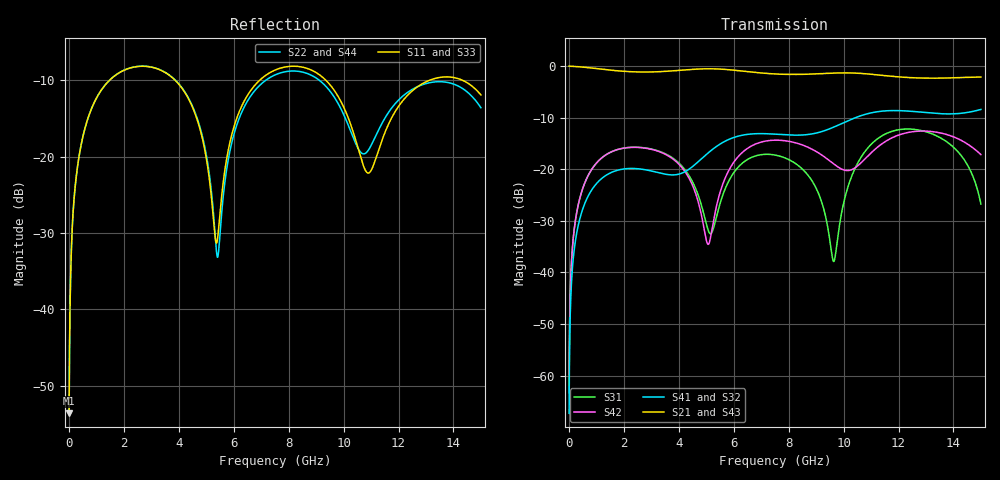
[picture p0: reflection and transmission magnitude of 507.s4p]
! Created with skrf 1.8.0 (http://scikit-rf.org).
# GHz S RI R 50.0
!freq ReS11 ImS11 ReS12 ImS12 ReS13 ImS13
! ReS14 ImS14
! ReS21 ImS21 ReS22 ImS22 ReS23 ImS23
! ReS24 ImS24
! ReS31 ImS31 ReS32 ImS32 ReS33 ImS33
! ReS34 ImS34
! ReS41 ImS41 ReS42 ImS42 ReS43 ImS43
! ReS44 ImS44
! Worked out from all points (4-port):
!   2499 points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, 5 MHz to 15 GHz, reference 50 ohm
!   strongest paths, dB at 5 MHz, 3.476 GHz, 7.19 GHz, 11.1 GHz, 15 GHz:
!     S21: 0.0, -1.0, -1.4, -1.6, -2.1
!     S43: 0.0, -1.0, -1.4, -1.6, -2.1
!     S41: -67.3, -20.9, -13.1, -9.0, -8.4
!     S32: -67.3, -20.9, -13.1, -8.9, -8.4
!     S42: -63.3, -17.0, -14.5, -16.3, -17.1
!     S31: -63.3, -16.9, -17.1, -14.7, -26.7
!   lowest |S11| = -53.6 dB at 5 MHz (marker M1), VSWR 1.00, Z = 50.2 + j0.126 ohm
!   |S11| at or under -10 dB: start of sweep to 1.479 GHz; 3.864 GHz to 6.947 GHz (3.083 GHz wide, 57 % of centre); 9.353 GHz to 13.14 GHz (3.783 GHz wide, 33.6 % of centre)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
0.005  0.00166 0.00126  0.9983 -0.00324  8.44e-05 0.000682  -8.18e-05 -0.000424
       0.9983 -0.00324  0.00166 0.00126  -8.18e-05 -0.000424  8.44e-05 0.000682
       8.44e-05 0.000682  -8.18e-05 -0.000424  0.00166 0.00126  0.9983 -0.00324
       -8.18e-05 -0.000424  8.44e-05 0.000682  0.9983 -0.00324  0.00166 0.00126
0.3626511  0.031 0.0943  0.9572 -0.2315  0.0152 0.046  -0.0125 -0.028
           0.9572 -0.2315  0.031 0.0943  -0.0125 -0.028  0.0152 0.046
           0.0152 0.046  -0.0125 -0.028  0.031 0.0943  0.9572 -0.2315
           -0.0125 -0.028  0.0152 0.046  0.9572 -0.2315  0.031 0.0943
1.67  0.2958 0.1645  0.4882 -0.7621  0.1423 0.0547  -0.096 0.00457
      0.4882 -0.7621  0.2959 0.1645  -0.096 0.0046  0.1418 0.0556
      0.1423 0.0547  -0.096 0.0046  0.2957 0.1645  0.4883 -0.7621
      -0.096 0.00457  0.1418 0.0556  0.4883 -0.7621  0.2958 0.1644
5.402251  0.0274 0.00697  -0.9364 -0.0603  -0.0187 0.0324  -0.00622 0.1686
          -0.9364 -0.0603  0.0219 -0.00239  -0.0057 0.1686  0.0321 0.0351
          -0.0187 0.0324  -0.0057 0.1686  0.0277 0.00888  -0.9365 -0.06
          -0.00622 0.1686  0.0321 0.0351  -0.9365 -0.06  0.0214 -0.000464
8.347228  0.3868 -0.0406  -0.00177 0.8305  0.1028 -0.0359  0.2086 -0.0487
          -0.00177 0.8305  0.3614 -0.0108  0.2082 -0.0493  0.1095 -0.1397
          0.1028 -0.0359  0.2082 -0.0493  0.3882 -0.0419  -0.00311 0.8298
          0.2086 -0.0487  0.1095 -0.1397  -0.00311 0.8298  0.3631 -0.00839
11.11713  0.0876 0.0238  0.8276 -0.0232  0.0621 0.1757  -0.0262 -0.3562
          0.8276 -0.0232  0.1217 0.0465  -0.0269 -0.3571  0.00751 0.1538
          0.0621 0.1757  -0.0269 -0.3571  0.0815 0.0212  0.8278 -0.0191
          -0.0262 -0.3562  0.00751 0.1538  0.8278 -0.0191  0.1271 0.0438
15  0.2107 -0.1407  -0.43 -0.6548  0.0129 -0.0442  -0.308 0.2225
    -0.43 -0.6548  0.1866 -0.0937  -0.3058 0.2267  -0.0389 -0.1333
    0.0129 -0.0442  -0.3058 0.2267  0.2119 -0.1315  -0.4253 -0.6593
    -0.308 0.2225  -0.0389 -0.1333  -0.4253 -0.6593  0.1808 -0.0966
